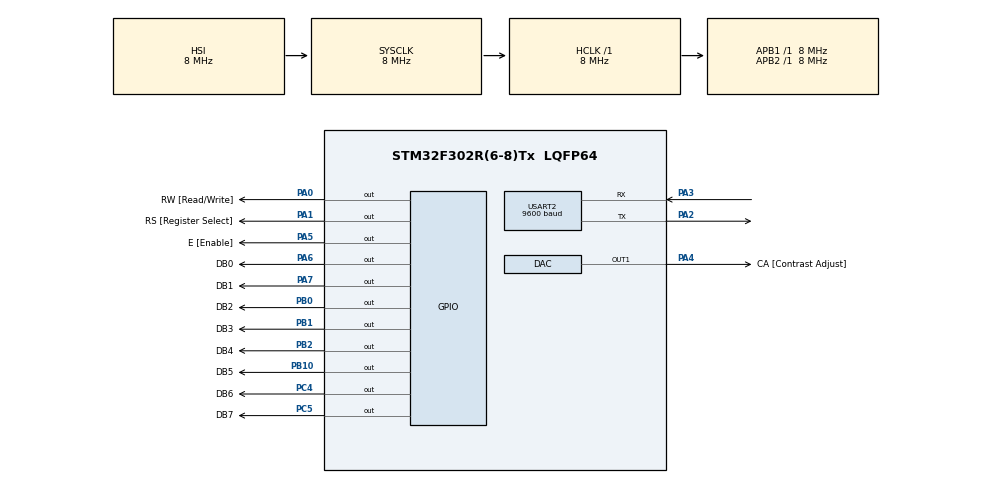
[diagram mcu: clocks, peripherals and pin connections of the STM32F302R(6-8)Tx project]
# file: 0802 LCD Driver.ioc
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Mcu.Family=STM32F3
Mcu.Name=STM32F302R(6-8)Tx
Mcu.Package=LQFP64
NVIC.PriorityGroup=NVIC_PRIORITYGROUP_4
PA0.GPIO_Label=RW [Read/Write]
PA0.Signal=GPIO_Output
PA1.GPIO_Label=RS [Register Select]
PA1.Signal=GPIO_Output
PA2.Mode=Asynchronous
PA2.Signal=USART2_TX
PA3.Mode=Asynchronous
PA3.Signal=USART2_RX
PA4.GPIO_Label=CA [Contrast Adjust]
PA4.Signal=COMP_DAC1_group
PA5.GPIO_Label=E [Enable]
PA5.Signal=GPIO_Output
PA6.GPIO_Label=DB0 
PA6.Signal=GPIO_Output
PA7.GPIO_Label=DB1
PA7.Signal=GPIO_Output
PB0.GPIO_Label=DB2
PB0.Signal=GPIO_Output
PB1.GPIO_Label=DB3
PB1.Signal=GPIO_Output
PB10.GPIO_Label=DB5
PB10.Signal=GPIO_Output
PB2.GPIO_Label=DB4
PB2.Signal=GPIO_Output
PC4.GPIO_Label=DB6
PC4.Signal=GPIO_Output
PC5.GPIO_Label=DB7
PC5.Signal=GPIO_Output
ProjectManager.HeapSize=0x200
ProjectManager.StackSize=0x400
ProjectManager.TargetToolchain=STM32CubeIDE
RCC.AHBFreq_Value=8000000
RCC.APB1Freq_Value=8000000
RCC.APB2Freq_Value=8000000
RCC.CortexFreq_Value=8000000
RCC.HSE_VALUE=8000000
RCC.HSI_VALUE=8000000
RCC.LSE_VALUE=32768
RCC.SYSCLKFreq_VALUE=8000000
SH.COMP_DAC1_group.0=DAC_OUT1,DAC_OUT1
USART2.BaudRate=9600
USART2.VirtualMode-Asynchronous=VM_ASYNC
board=custom

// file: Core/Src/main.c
/* USER CODE BEGIN Header */
/**
  ******************************************************************************
  * @file           : main.c
  * @brief          : Main program body
  ******************************************************************************
  * @attention
  *
  * Copyright (c) 2025 STMicroelectronics.
  * All rights reserved.
  *
  * This software is licensed under terms that can be found in the LICENSE file
  * in the root directory of this software component.
  * If no LICENSE file comes with this software, it is provided AS-IS.
  *
  ******************************************************************************
  */
/* USER CODE END Header */
#include "main.h"

/* USER CODE BEGIN Includes */
#include "ADM0802A.h"
/* USER CODE END Includes */

DAC_HandleTypeDef hdac;

UART_HandleTypeDef huart2;

void SystemClock_Config(void);
static void MX_GPIO_Init(void);
static void MX_USART2_UART_Init(void);
static void MX_DAC_Init(void);

int main(void)
{

  /* MCU Configuration--------------------------------------------------------*/

  /* Reset of all peripherals, Initializes the Flash interface and the Systick. */
  HAL_Init();

  /* Configure the system clock */
  SystemClock_Config();

  /* Initialize all configured peripherals */
  MX_GPIO_Init();
  MX_USART2_UART_Init();
  MX_DAC_Init();
  /* USER CODE BEGIN 2 */
  HAL_DAC_Init (&hdac);
  HAL_DAC_Start (&hdac, DAC_CHANNEL_1);

  ADM0802A_Init ();

  // Set CA to 3.3V/2
  HAL_DAC_SetValue(&hdac, DAC_CHANNEL_1, DAC_ALIGN_12B_R, 2048);

  HAL_Delay (1000);
  ADM0802A_DataWrite ('H', false);
  HAL_Delay (500);
  ADM0802A_DataWrite ('E', false);
  HAL_Delay (500);
  ADM0802A_DataWrite ('L', false);
  HAL_Delay (500);
  ADM0802A_DataWrite ('L', false);
  HAL_Delay (500);
  ADM0802A_DataWrite ('0', false);
  /* USER CODE END 2 */

  /* Infinite loop */
  while (1)
  {

  }
}

void SystemClock_Config(void)
{
  RCC_OscInitTypeDef RCC_OscInitStruct = {0};
  RCC_ClkInitTypeDef RCC_ClkInitStruct = {0};

  /** Initializes the RCC Oscillators according to the specified parameters
  * in the RCC_OscInitTypeDef structure.
  */
  RCC_OscInitStruct.OscillatorType = RCC_OSCILLATORTYPE_HSI;
  RCC_OscInitStruct.HSIState = RCC_HSI_ON;
  RCC_OscInitStruct.HSICalibrationValue = RCC_HSICALIBRATION_DEFAULT;
  RCC_OscInitStruct.PLL.PLLState = RCC_PLL_NONE;
  if (HAL_RCC_OscConfig(&RCC_OscInitStruct) != HAL_OK)
  {
    Error_Handler();
  }

  /** Initializes the CPU, AHB and APB buses clocks
  */
  RCC_ClkInitStruct.ClockType = RCC_CLOCKTYPE_HCLK|RCC_CLOCKTYPE_SYSCLK
                              |RCC_CLOCKTYPE_PCLK1|RCC_CLOCKTYPE_PCLK2;
  RCC_ClkInitStruct.SYSCLKSource = RCC_SYSCLKSOURCE_HSI;
  RCC_ClkInitStruct.AHBCLKDivider = RCC_SYSCLK_DIV1;
  RCC_ClkInitStruct.APB1CLKDivider = RCC_HCLK_DIV1;
  RCC_ClkInitStruct.APB2CLKDivider = RCC_HCLK_DIV1;

  if (HAL_RCC_ClockConfig(&RCC_ClkInitStruct, FLASH_LATENCY_0) != HAL_OK)
  {
    Error_Handler();
  }
}

static void MX_DAC_Init(void)
{

  DAC_ChannelConfTypeDef sConfig = {0};

  /** DAC Initialization
  */
  hdac.Instance = DAC;
  if (HAL_DAC_Init(&hdac) != HAL_OK)
  {
    Error_Handler();
  }

  /** DAC channel OUT1 config
  */
  sConfig.DAC_Trigger = DAC_TRIGGER_NONE;
  sConfig.DAC_OutputBuffer = DAC_OUTPUTBUFFER_ENABLE;
  if (HAL_DAC_ConfigChannel(&hdac, &sConfig, DAC_CHANNEL_1) != HAL_OK)
  {
    Error_Handler();
  }

}

static void MX_USART2_UART_Init(void)
{

  huart2.Instance = USART2;
  huart2.Init.BaudRate = 9600;
  huart2.Init.WordLength = UART_WORDLENGTH_8B;
  huart2.Init.StopBits = UART_STOPBITS_1;
  huart2.Init.Parity = UART_PARITY_NONE;
  huart2.Init.Mode = UART_MODE_TX_RX;
  huart2.Init.HwFlowCtl = UART_HWCONTROL_NONE;
  huart2.Init.OverSampling = UART_OVERSAMPLING_16;
  huart2.Init.OneBitSampling = UART_ONE_BIT_SAMPLE_DISABLE;
  huart2.AdvancedInit.AdvFeatureInit = UART_ADVFEATURE_NO_INIT;
  if (HAL_UART_Init(&huart2) != HAL_OK)
  {
    Error_Handler();
  }

}

static void MX_GPIO_Init(void)
{
  GPIO_InitTypeDef GPIO_InitStruct = {0};

  /* GPIO Ports Clock Enable */
  __HAL_RCC_GPIOA_CLK_ENABLE();
  __HAL_RCC_GPIOC_CLK_ENABLE();
  __HAL_RCC_GPIOB_CLK_ENABLE();

  /*Configure GPIO pin Output Level */
  HAL_GPIO_WritePin(GPIOA, RW_Pin|RS_Pin|E_Pin|DB0_Pin
                          |DB1_Pin, GPIO_PIN_RESET);

  /*Configure GPIO pin Output Level */
  HAL_GPIO_WritePin(GPIOC, DB6_Pin|DB7_Pin, GPIO_PIN_RESET);

  /*Configure GPIO pin Output Level */
  HAL_GPIO_WritePin(GPIOB, DB2_Pin|DB3_Pin|DB4_Pin|DB5_Pin, GPIO_PIN_RESET);

  /*Configure GPIO pins : RW_Pin RS_Pin E_Pin DB0_Pin
                           DB1_Pin */
  GPIO_InitStruct.Pin = RW_Pin|RS_Pin|E_Pin|DB0_Pin
                          |DB1_Pin;
  GPIO_InitStruct.Mode = GPIO_MODE_OUTPUT_PP;
  GPIO_InitStruct.Pull = GPIO_NOPULL;
  GPIO_InitStruct.Speed = GPIO_SPEED_FREQ_LOW;
  HAL_GPIO_Init(GPIOA, &GPIO_InitStruct);

  /*Configure GPIO pins : DB6_Pin DB7_Pin */
  GPIO_InitStruct.Pin = DB6_Pin|DB7_Pin;
  GPIO_InitStruct.Mode = GPIO_MODE_OUTPUT_PP;
  GPIO_InitStruct.Pull = GPIO_NOPULL;
  GPIO_InitStruct.Speed = GPIO_SPEED_FREQ_LOW;
  HAL_GPIO_Init(GPIOC, &GPIO_InitStruct);

  /*Configure GPIO pins : DB2_Pin DB3_Pin DB4_Pin DB5_Pin */
  GPIO_InitStruct.Pin = DB2_Pin|DB3_Pin|DB4_Pin|DB5_Pin;
  GPIO_InitStruct.Mode = GPIO_MODE_OUTPUT_PP;
  GPIO_InitStruct.Pull = GPIO_NOPULL;
  GPIO_InitStruct.Speed = GPIO_SPEED_FREQ_LOW;
  HAL_GPIO_Init(GPIOB, &GPIO_InitStruct);

}

void Error_Handler(void)
{
  __disable_irq();
  while (1)
  {
  }
}
